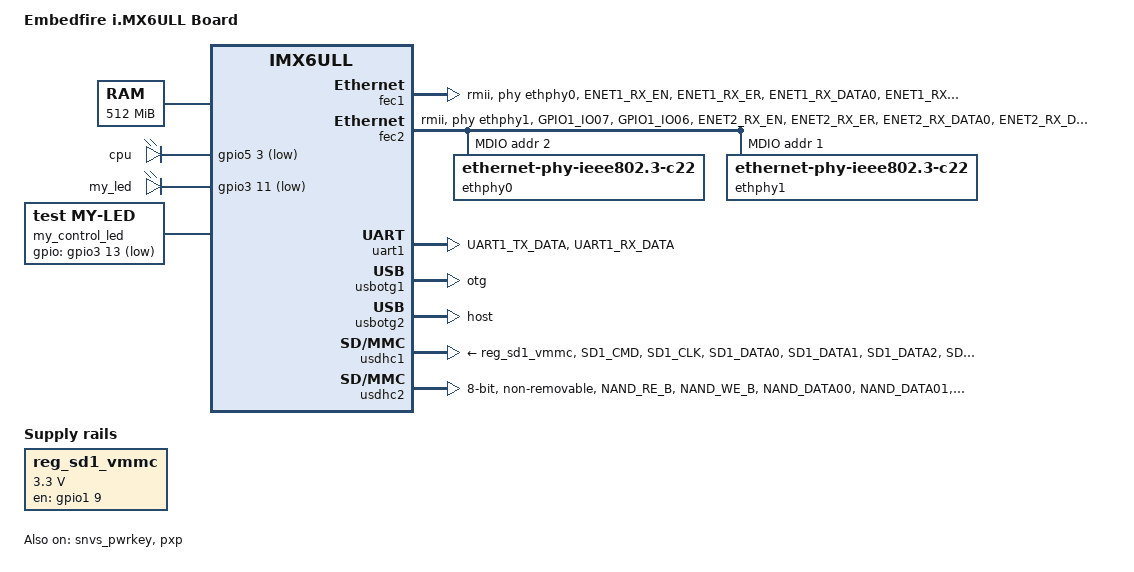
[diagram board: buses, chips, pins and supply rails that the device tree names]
/*
 * Copyright (C) 2016 Freescale Semiconductor, Inc.
 *
 * This program is free software; you can redistribute it and/or modify
 * it under the terms of the GNU General Public License version 2 as
 * published by the Free Software Foundation.
 */

/dts-v1/;

#include <dt-bindings/input/input.h>
#include "imx6ull.dtsi"

/ {
	model = "Embedfire i.MX6ULL Board";
	compatible = "fsl,imx6ull-14x14-evk", "fsl,imx6ull";

	aliases {
		pwm0 = &pwm1;
		pwm1 = &pwm2;
		pwm2 = &pwm3;
		pwm3 = &pwm4;
		sai1 = &sai1;
		sai2 = &sai2;
		sai3 = &sai3;
	};
	chosen {
		stdout-path = &uart1;
	};

	memory {
		reg = <0x80000000 0x20000000>;
	};

	reserved-memory {
		#address-cells = <1>;
		#size-cells = <1>;
		ranges;

		linux,cma {
			compatible = "shared-dma-pool";
			reusable;
			size = <0x14000000>;
			linux,cma-default;
		};
	};

	regulators {
		compatible = "simple-bus";
		#address-cells = <1>;
		#size-cells = <0>;


		reg_sd1_vmmc: regulator@1 {
			compatible = "regulator-fixed";
			regulator-name = "VSD_3V3";
			regulator-min-microvolt = <3300000>;
			regulator-max-microvolt = <3300000>;
			gpio = <&gpio1 9 GPIO_ACTIVE_HIGH>;
			off-on-delay = <20000>;
			enable-active-high;
		};
	/*
		reg_gpio_dvfs: regulator-gpio {
			compatible = "regulator-gpio";
			pinctrl-names = "default";
			pinctrl-0 = <&pinctrl_dvfs>;
			regulator-min-microvolt = <1300000>;
			regulator-max-microvolt = <1400000>;
			regulator-name = "gpio_dvfs";
			regulator-type = "voltage";
			gpios = <&gpio5 3 GPIO_ACTIVE_HIGH>;
			states = <1300000 0x1 1400000 0x0>;
		};
	*/
	};

	/*
	 * ================================================================
	 * LED 节点组 — 使用 gpio-leds 驱动 (drivers/leds/leds-gpio.c)
	 * ================================================================
	 * compatible = "gpio-leds" 让 Linux 内核的 leds-gpio 驱动接管此节点。
	 * 每个子节点代表一个独立 LED，由内核 LED 子系统统一管理，
	 * 最终生成 /sys/class/leds/<label>/ 用户空间接口。
	 */
	leds {
		compatible = "gpio-leds";
		pinctrl-names = "default";
		/*
		 * pinctrl-0 可以列出多个引脚配置节点，bootloader 会逐一应用。
		 * 每个 <&phandle> 指向 &iomuxc 中通过 pinctrl_xxx: 标签定义的节点。
		 */
		pinctrl-0 = <&pinctrl_led>,
			    <&pinctrl_my_led>;

		/*
		 * 系统心跳灯，使用 SNVS_TAMPER3 → GPIO5_IO03
		 * 该 LED 会随内核心跳自动闪烁，无需用户空间程序干预。
		 */
		led0: cpu {
			label = "cpu";
			/*
			 * gpios 三要素（定义在 include/dt-bindings/gpio/gpio.h）：
			 *   <&gpio5>  — GPIO 控制器 phandle (gpio5 = GPIO Bank 5)
			 *   3         — GPIO 控制器内的引脚索引 (0~31)
			 *   GPIO_ACTIVE_LOW (值为1) — LED 低电平点亮，高电平熄灭
			 *     引用自: dt-bindings/gpio/gpio.h:#define GPIO_ACTIVE_LOW 1
			 */
			gpios = <&gpio5 3 GPIO_ACTIVE_LOW>;
			/*
			 * default-state = "on" → 内核启动后到 trigger 接管前，
			 * LED 默认保持点亮状态。
			 */
			default-state = "on";
			/*
			 * linux,default-trigger = "heartbeat"
			 * 使用内核 LED 触发器的 "heartbeat" 模式：
			 *   - 随 CPU 负载变化闪烁（空闲慢闪，忙碌快闪）
			 *   - 等同于: echo heartbeat > /sys/class/leds/cpu/trigger
			 * 支持的其他触发器: "none" "mmc0" "timer" "default-on" "oneshot" 等
			 */
			linux,default-trigger = "heartbeat";
		};

		/*
		 * ================================================================
		 * my_led: 测试 LED，使用 LCD_DATA06 → GPIO3_IO11
		 * ================================================================
		 * 引脚来源: 原本为 24 位 LCD 数据线的 D6，由于 LCD overlay
		 * 已被禁用（uEnv.txt 中注释掉了加载），该引脚空闲可用。
		 *
		 * 此节点不需要写 compatible，因为父节点 leds 已经声明了
		 * compatible = "gpio-leds"，内核 leds-gpio 驱动会自动
		 * 为每个子节点创建一个 LED class device。
		 */
		my_led {
			/*
			 * label 决定了 /sys/class/leds/ 下的目录名:
			 *   /sys/class/leds/my_led/
			 *    - brightness  (读写: 0=灭, 1=亮)
			 *    - trigger     (读写: 设置触发模式)
			 *    - max_brightness
			 */
			label = "my_led";
			/*
			 * gpios 三要素:
			 *   <&gpio3>  — GPIO Bank 3 控制器
			 *              （来源: MX6UL_PAD_LCD_DATA06 在 ALT5 下 = GPIO3_IO11）
			 *   11        — Bank 3 内的引脚号
			 *   GPIO_ACTIVE_LOW — 低电平点亮 LED，高电平熄灭
			 *                      （阳极端接 3.3V，阴极端接 GPIO，通过限流电阻）
			 */
			gpios = <&gpio3 11 GPIO_ACTIVE_LOW>;
			/*
			 * linux,default-trigger = "heartbeat"
			 * 设为心跳模式，LED 会自动以固定节奏闪烁。
			 * 这样无需编写任何驱动或用户态程序即可验证硬件连接。
			 * 确认方法:
			 *   板子上 LED 闪烁  → 硬件 OK。
			 *   cat /sys/class/leds/my_led/trigger → 查看当前触发器。
			 *   echo none > /sys/class/leds/my_led/trigger → 停闪。
			 *   echo 1 > /sys/class/leds/my_led/brightness → 手动亮。
			 */
			linux,default-trigger = "heartbeat";
		};
	};

	my_control_led{
		compatible = "test,my-led"; //和驱动中 of_device_id 结构体的 compatible 字段对应
		pinctrl-names = "default";
		pinctrl-0 = <&pinctrl_my_control_led>; //选择gpio的配置，这个配置写在iomuxc节点中
		gpios = <&gpio3 13 GPIO_ACTIVE_LOW>; //用于devm_gpiod_get获取GPIO属性
	};


	/* External sound card */
	sound: sound {
				status = "disabled";
	};

	spi4: 74hc595 {
		compatible = "spi-gpio";
		pinctrl-names = "default";
		pinctrl-0 = <&pinctrl_spi4>;
		pinctrl-assert-gpios = <&gpio5 8 GPIO_ACTIVE_LOW>;
		status = "disabled";
		gpio-sck = <&gpio5 11 0>;
		gpio-mosi = <&gpio5 10 0>;
		cs-gpios = <&gpio5 7 0>;
		num-chipselects = <1>;
		#address-cells = <1>;
		#size-cells = <0>;

		gpio_spi: gpio_spi@0 {
			compatible = "fairchild,74hc595";
			gpio-controller;
			#gpio-cells = <2>;
			reg = <0>;
			registers-number = <1>;
			registers-default = /bits/ 8 <0x57>;
			spi-max-frequency = <100000>;
		};
	};
};

&cpu0 {
	/*dc-supply = <&reg_gpio_dvfs>;*/
	clock-frequency = <800000000>;
};

&clks {
	assigned-clocks = <&clks IMX6UL_CLK_PLL4_AUDIO_DIV>;
	assigned-clock-rates = <786432000>;
};


&fec1 {
	pinctrl-names = "default";
	pinctrl-0 = <&pinctrl_enet1>;
	phy-mode = "rmii";
	phy-handle = <&ethphy0>;
	status = "okay";
};

&fec2 {
	pinctrl-names = "default";
	pinctrl-0 = <&pinctrl_enet2>;
	phy-mode = "rmii";
	phy-handle = <&ethphy1>;
	status = "okay";

	mdio {
		#address-cells = <1>;
		#size-cells = <0>;

		ethphy0: ethernet-phy@2 {
			compatible = "ethernet-phy-ieee802.3-c22";
			reg = <2>;
			micrel,led-mode = <1>;
			clocks = <&clks IMX6UL_CLK_ENET_REF>;
			clock-names = "rmii-ref";
		};

		ethphy1: ethernet-phy@1 {
			compatible = "ethernet-phy-ieee802.3-c22";
			reg = <1>;
			micrel,led-mode = <1>;
			clocks = <&clks IMX6UL_CLK_ENET2_REF>;
			clock-names = "rmii-ref";
		};
	};
};


&gpc {
	fsl,cpu_pupscr_sw2iso = <0xf>;
	fsl,cpu_pupscr_sw = <0x0>;
	fsl,cpu_pdnscr_iso2sw = <0x1>;
	fsl,cpu_pdnscr_iso = <0x1>;
	fsl,ldo-bypass = <0>; /* DCDC, ldo-enable */
};


&iomuxc {
	pinctrl-names = "default";
	pinctrl-0 = <&pinctrl_hog_1>;

	pinctrl_hog_1: hoggrp-1 {
		fsl,pins = <
			MX6UL_PAD_UART1_RTS_B__GPIO1_IO19	0x17059 /* SD1 CD */
			MX6UL_PAD_GPIO1_IO05__USDHC1_VSELECT	0x17059 /* SD1 VSELECT */
			MX6UL_PAD_GPIO1_IO09__GPIO1_IO09        0x17059 /* SD1 RESET */
		>;
	};

	pinctrl_enet1: enet1grp {
		fsl,pins = <
			MX6UL_PAD_ENET1_RX_EN__ENET1_RX_EN	0x1b0b0
			MX6UL_PAD_ENET1_RX_ER__ENET1_RX_ER	0x1b0b0
			MX6UL_PAD_ENET1_RX_DATA0__ENET1_RDATA00	0x1b0b0
			MX6UL_PAD_ENET1_RX_DATA1__ENET1_RDATA01	0x1b0b0
			MX6UL_PAD_ENET1_TX_EN__ENET1_TX_EN	0x1b0b0
			MX6UL_PAD_ENET1_TX_DATA0__ENET1_TDATA00	0x1b0b0
			MX6UL_PAD_ENET1_TX_DATA1__ENET1_TDATA01	0x1b0b0
			MX6UL_PAD_ENET1_TX_CLK__ENET1_REF_CLK1	0x4001b031
		>;
	};

	pinctrl_enet2: enet2grp {
		fsl,pins = <
			MX6UL_PAD_GPIO1_IO07__ENET2_MDC		0x1b0b0
			MX6UL_PAD_GPIO1_IO06__ENET2_MDIO	0x1b0b0
			MX6UL_PAD_ENET2_RX_EN__ENET2_RX_EN	0x1b0b0
			MX6UL_PAD_ENET2_RX_ER__ENET2_RX_ER	0x1b0b0
			MX6UL_PAD_ENET2_RX_DATA0__ENET2_RDATA00	0x1b0b0
			MX6UL_PAD_ENET2_RX_DATA1__ENET2_RDATA01	0x1b0b0
			MX6UL_PAD_ENET2_TX_EN__ENET2_TX_EN	0x1b0b0
			MX6UL_PAD_ENET2_TX_DATA0__ENET2_TDATA00	0x1b0b0
			MX6UL_PAD_ENET2_TX_DATA1__ENET2_TDATA01	0x1b0b0
			MX6UL_PAD_ENET2_TX_CLK__ENET2_REF_CLK2	0x4001b031
		>;
	};

	pinctrl_uart1: uart1grp {
		fsl,pins = <
			MX6UL_PAD_UART1_TX_DATA__UART1_DCE_TX 0x1b0b1
			MX6UL_PAD_UART1_RX_DATA__UART1_DCE_RX 0x1b0b1
		>;
	};

/*
        pinctrl_dvfs: dvfsgrp {
                fsl,pins = <
                        MX6ULL_PAD_SNVS_TAMPER3__GPIO5_IO03      0x79
                >;
        };
*/
	pinctrl_usdhc1: usdhc1grp {
		fsl,pins = <
			MX6UL_PAD_SD1_CMD__USDHC1_CMD     0x17059
			MX6UL_PAD_SD1_CLK__USDHC1_CLK     0x10071
			MX6UL_PAD_SD1_DATA0__USDHC1_DATA0 0x17059
			MX6UL_PAD_SD1_DATA1__USDHC1_DATA1 0x17059
			MX6UL_PAD_SD1_DATA2__USDHC1_DATA2 0x17059
			MX6UL_PAD_SD1_DATA3__USDHC1_DATA3 0x17059
		>;
	};

	pinctrl_usdhc1_100mhz: usdhc1grp100mhz {
		fsl,pins = <
			MX6UL_PAD_SD1_CMD__USDHC1_CMD     0x170b9
			MX6UL_PAD_SD1_CLK__USDHC1_CLK     0x100b9
			MX6UL_PAD_SD1_DATA0__USDHC1_DATA0 0x170b9
			MX6UL_PAD_SD1_DATA1__USDHC1_DATA1 0x170b9
			MX6UL_PAD_SD1_DATA2__USDHC1_DATA2 0x170b9
			MX6UL_PAD_SD1_DATA3__USDHC1_DATA3 0x170b9
		>;
	};

	pinctrl_usdhc1_200mhz: usdhc1grp200mhz {
		fsl,pins = <
			MX6UL_PAD_SD1_CMD__USDHC1_CMD     0x170f9
			MX6UL_PAD_SD1_CLK__USDHC1_CLK     0x100f9
			MX6UL_PAD_SD1_DATA0__USDHC1_DATA0 0x170f9
			MX6UL_PAD_SD1_DATA1__USDHC1_DATA1 0x170f9
			MX6UL_PAD_SD1_DATA2__USDHC1_DATA2 0x170f9
			MX6UL_PAD_SD1_DATA3__USDHC1_DATA3 0x170f9
		>;
	};

	pinctrl_usdhc2: usdhc2grp {
		fsl,pins = <
			MX6UL_PAD_NAND_RE_B__USDHC2_CLK     0x10069
			MX6UL_PAD_NAND_WE_B__USDHC2_CMD     0x17059
			MX6UL_PAD_NAND_DATA00__USDHC2_DATA0 0x17059
			MX6UL_PAD_NAND_DATA01__USDHC2_DATA1 0x17059
			MX6UL_PAD_NAND_DATA02__USDHC2_DATA2 0x17059
			MX6UL_PAD_NAND_DATA03__USDHC2_DATA3 0x17059
		>;
	};

	pinctrl_usdhc2_8bit: usdhc2grp_8bit {
		fsl,pins = <
			MX6UL_PAD_NAND_RE_B__USDHC2_CLK     0x10059
			MX6UL_PAD_NAND_WE_B__USDHC2_CMD     0x17059
			MX6UL_PAD_NAND_DATA00__USDHC2_DATA0 0x17059
			MX6UL_PAD_NAND_DATA01__USDHC2_DATA1 0x17059
			MX6UL_PAD_NAND_DATA02__USDHC2_DATA2 0x17059
			MX6UL_PAD_NAND_DATA03__USDHC2_DATA3 0x17059
			MX6UL_PAD_NAND_DATA04__USDHC2_DATA4 0x17059
			MX6UL_PAD_NAND_DATA05__USDHC2_DATA5 0x17059
			MX6UL_PAD_NAND_DATA06__USDHC2_DATA6 0x17059
			MX6UL_PAD_NAND_DATA07__USDHC2_DATA7 0x17059
		>;
	};

	pinctrl_usdhc2_8bit_100mhz: usdhc2grp_8bit_100mhz {
		fsl,pins = <
			MX6UL_PAD_NAND_RE_B__USDHC2_CLK     0x100b9
			MX6UL_PAD_NAND_WE_B__USDHC2_CMD     0x170b9
			MX6UL_PAD_NAND_DATA00__USDHC2_DATA0 0x170b9
			MX6UL_PAD_NAND_DATA01__USDHC2_DATA1 0x170b9
			MX6UL_PAD_NAND_DATA02__USDHC2_DATA2 0x170b9
			MX6UL_PAD_NAND_DATA03__USDHC2_DATA3 0x170b9
			MX6UL_PAD_NAND_DATA04__USDHC2_DATA4 0x170b9
			MX6UL_PAD_NAND_DATA05__USDHC2_DATA5 0x170b9
			MX6UL_PAD_NAND_DATA06__USDHC2_DATA6 0x170b9
			MX6UL_PAD_NAND_DATA07__USDHC2_DATA7 0x170b9
		>;
	};

	pinctrl_usdhc2_8bit_200mhz: usdhc2grp_8bit_200mhz {
		fsl,pins = <
			MX6UL_PAD_NAND_RE_B__USDHC2_CLK     0x100f9
			MX6UL_PAD_NAND_WE_B__USDHC2_CMD     0x170f9
			MX6UL_PAD_NAND_DATA00__USDHC2_DATA0 0x170f9
			MX6UL_PAD_NAND_DATA01__USDHC2_DATA1 0x170f9
			MX6UL_PAD_NAND_DATA02__USDHC2_DATA2 0x170f9
			MX6UL_PAD_NAND_DATA03__USDHC2_DATA3 0x170f9
			MX6UL_PAD_NAND_DATA04__USDHC2_DATA4 0x170f9
			MX6UL_PAD_NAND_DATA05__USDHC2_DATA5 0x170f9
			MX6UL_PAD_NAND_DATA06__USDHC2_DATA6 0x170f9
			MX6UL_PAD_NAND_DATA07__USDHC2_DATA7 0x170f9
		>;
	};

	/*
	 * ================================================================
	 * 系统心跳 LED 引脚配置
	 * ================================================================
	 * 宏: MX6ULL_PAD_SNVS_TAMPER3__GPIO5_IO03
	 *   来源: arch/arm/boot/dts/imx6ull-pinfunc-snvs.h
	 *   ALT5 → GPIO5_IO03
	 */
	pinctrl_led: ledgrp {
			fsl,pins = <
				MX6ULL_PAD_SNVS_TAMPER3__GPIO5_IO03 0x1b0b0
			>;
		};

	/*
	 * ================================================================
	 * p测试 LED 引脚配置 — LCD_DATA06 → GPIO3_IO11
	 * ================================================================
	 *
	 * 引脚来源：LCD_DATA06，原本属于 LCD 24条数据线之一。
	 * 由于 LCD overlay (imx-fire-lcd-overlay.dtbo) 已在 uEnv.txt
	 * 中禁用后不再加载，该引脚现在是空闲 GPIO，可用于任意外设。
	 *
	 * ─── 宏定义（来源文件）────────────────────────────────────
	 *   arch/arm/boot/dts/imx6ul-pinfunc.h 第 541 行:
	 *     #define MX6UL_PAD_LCD_DATA06__GPIO3_IO11 \
	 *             0x0130 0x03bc 0x0000 5 0
	 *
	 * ─── 宏参数含义 ──────────────────────────────────────────
	 *   (imx6ul-pinfunc.h 第 13-16 行注释说明)
	 *
	 *   字段       | 值     | 含义
	 *   -----------|--------|----------------------------------
	 *   mux_reg    | 0x0130 | IOMUXC_SW_MUX_CTL 寄存器偏移地址
	 *              |        | 写入 ALT5 值 → 引脚复用为 GPIO3_IO11
	 *   conf_reg   | 0x03bc | IOMUXC_SW_PAD_CTL 寄存器偏移地址
	 *              |        | 下方 0x1b0b0 写入此寄存器，配置电气特性
	 *   input_reg  | 0x0000 | 无输入 daisy chain 选择寄存器
	 *              |        | (输出模式不需要，仅输入模式使用)
	 *   mux_mode   | 5      | ALT5: 将引脚功能切换到 GPIO3_IO11
	 *              |        | MUX 模式对应关系见 i.MX6ULL RM 表
	 *              |        | ALT0=LCD_DATA06, ALT5=GPIO3_IO11
	 *   input_val  | 0      | 无关 (GPIO 用作输出时忽略此字段)
	 *
	 * ─── Pad 控制值 0x1b0b0 位域详解 ──────────────────────────
	 *   参考: i.MX6ULL Reference Manual, Chapter 30 IOMUXC
	 *         IOMUXC_SW_PAD_CTL_PAD_LCD_DATA06 寄存器
	 *
	 *   0x0001b0b0 = 0b 0000 0000 0000 0001 1011 0000 1011 0000
	 *
	 *   BIT      | 字段名 | 值  | 含义 & 选值理由
	 *   ---------|--------|-----|--------------------------------
	 *   0        | SRE    | 0   | 慢速压摆率。GPIO 切换频率低,
	 *            |        |     | 慢摆率减少 EMI 辐射。
	 *   3-5      | DSE    | 011 | 驱动强度: R0/4 (中等偏弱)。
	 *            |        |     | 仅驱动一个 LED，不需大电流。
	 *   6-7      | SPEED  | 01  | 带宽: 50MHz (低速)。
	 *            |        |     | GPIO 翻转速度远低于 50MHz。
	 *   11       | ODE    | 0   | 开漏输出关闭。使用标准推挽输出,
	 *            |        |     | GPIO 直接驱动 LED 阴极。
	 *   12       | PKE    | 1   | 使能上拉/保持器。
	 *   13       | PUE    | 1   | 选择上拉 (而非保持器)。
	 *            |        |     | 默认上拉 → IO 高电平 → LED 灭。
	 *   [14:15]  | PUS    | 01  | 上拉电阻: 47KΩ。
	 *            |        |     | (PUS=00→100K, 01→47K, 10→100K, 11→22K)
	 *   16       | HYS    | 1   | 输入施密特触发器使能。
	 *            |        |     | 虽然是输出引脚，使能可增加噪声容忍。
	 */
	pinctrl_my_led: my_ledgrp {
		fsl,pins = <
			MX6UL_PAD_LCD_DATA06__GPIO3_IO11  0x1b0b0
		>;
	};

	pinctrl_my_control_led: my_control_ledgrp {
		fsl,pins = <
			MX6UL_PAD_LCD_DATA08__GPIO3_IO13  0x1b0b0 /* 前面来自官方的dtsi 后面的数据要看芯片手册 */
		>;	
	};
};

&iomuxc_snvs {
	pinctrl-names = "default_snvs";
	pinctrl-0 = <&pinctrl_hog_2>;
	pinctrl_hog_2: hoggrp-2 {
		fsl,pins = <
			MX6ULL_PAD_SNVS_TAMPER0__GPIO5_IO00      0x80000000
		>;
	};
	pinctrl_spi4: spi4grp {
					fsl,pins = <
						MX6ULL_PAD_BOOT_MODE0__GPIO5_IO10		0x70a1
						MX6ULL_PAD_BOOT_MODE1__GPIO5_IO11		0x70a1
						MX6ULL_PAD_SNVS_TAMPER7__GPIO5_IO07		0x70a1
						MX6ULL_PAD_SNVS_TAMPER8__GPIO5_IO08		0x80000000
					>;
	};
};

&snvs_pwrkey {
	status = "okay";
};

&pxp {
	status = "okay";
};


&uart1 {
	pinctrl-names = "default";
	pinctrl-0 = <&pinctrl_uart1>;
	status = "okay";
};


&usbotg1 {
	dr_mode = "otg";
	srp-disable;
	hnp-disable;
	adp-disable;
	status = "okay";
};

&usbotg2 {
	dr_mode = "host";
	disable-over-current;
	status = "okay";
};

&usbphy1 {
	fsl,tx-d-cal = <106>;
};

&usbphy2 {
	fsl,tx-d-cal = <106>;
};

&usdhc1 {
	pinctrl-names = "default", "state_100mhz", "state_200mhz";
	pinctrl-0 = <&pinctrl_usdhc1>;
	pinctrl-1 = <&pinctrl_usdhc1_100mhz>;
	pinctrl-2 = <&pinctrl_usdhc1_200mhz>;
	no-1-8-v;
	/*cd-gpios = <&gpio1 19 GPIO_ACTIVE_LOW>;*/
	keep-power-in-suspend;
	/*non-removable;*/
	enable-sdio-wakeup;
	vmmc-supply = <&reg_sd1_vmmc>;
	status = "okay";
};

&usdhc2 {
	pinctrl-names = "default";
	pinctrl-0 = <&pinctrl_usdhc2_8bit>;
	bus-width = <8>;
	no-1-8-v;
	non-removable;
	status = "okay";
};
